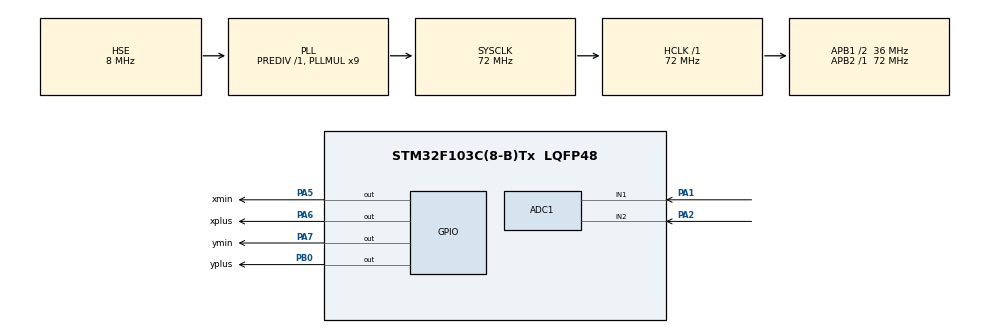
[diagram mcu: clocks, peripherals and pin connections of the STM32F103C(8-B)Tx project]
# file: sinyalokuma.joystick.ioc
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ADC1.Channel-0\#ChannelRegularConversion=ADC_CHANNEL_1
ADC1.Channel-1\#ChannelRegularConversion=ADC_CHANNEL_2
ADC1.ContinuousConvMode=ENABLE
ADC1.NbrOfConversion=2
ADC1.NbrOfConversionFlag=1
ADC1.Rank-0\#ChannelRegularConversion=1
ADC1.Rank-1\#ChannelRegularConversion=2
ADC1.SamplingTime-0\#ChannelRegularConversion=ADC_SAMPLETIME_239CYCLES_5
ADC1.SamplingTime-1\#ChannelRegularConversion=ADC_SAMPLETIME_239CYCLES_5
ADC1.master=1
Dma.ADC1.0.Direction=DMA_PERIPH_TO_MEMORY
Dma.ADC1.0.Instance=DMA1_Channel1
Dma.ADC1.0.MemDataAlignment=DMA_MDATAALIGN_WORD
Dma.ADC1.0.MemInc=DMA_MINC_ENABLE
Dma.ADC1.0.Mode=DMA_CIRCULAR
Dma.ADC1.0.PeriphDataAlignment=DMA_PDATAALIGN_WORD
Dma.ADC1.0.PeriphInc=DMA_PINC_DISABLE
Dma.ADC1.0.Priority=DMA_PRIORITY_LOW
Dma.Request0=ADC1
Mcu.Family=STM32F1
Mcu.Name=STM32F103C(8-B)Tx
Mcu.Package=LQFP48
NVIC.DMA1_Channel1_IRQn=true\:0\:0\:false\:false\:true\:false\:true\:true
NVIC.PriorityGroup=NVIC_PRIORITYGROUP_4
PA1.Signal=ADCx_IN1
PA13.Mode=Serial_Wire
PA13.Signal=SYS_JTMS-SWDIO
PA14.Mode=Serial_Wire
PA14.Signal=SYS_JTCK-SWCLK
PA2.Signal=ADCx_IN2
PA5.GPIO_Label=xmin
PA5.Signal=GPIO_Output
PA6.GPIO_Label=xplus
PA6.Signal=GPIO_Output
PA7.GPIO_Label=ymin
PA7.Signal=GPIO_Output
PB0.GPIO_Label=yplus
PB0.Signal=GPIO_Output
PD0-OSC_IN.Mode=HSE-External-Oscillator
PD0-OSC_IN.Signal=RCC_OSC_IN
PD1-OSC_OUT.Mode=HSE-External-Oscillator
PD1-OSC_OUT.Signal=RCC_OSC_OUT
ProjectManager.HeapSize=0x200
ProjectManager.StackSize=0x400
ProjectManager.TargetToolchain=SW4STM32
RCC.ADCPresc=RCC_ADCPCLK2_DIV6
RCC.AHBFreq_Value=72000000
RCC.APB1CLKDivider=RCC_HCLK_DIV2
RCC.APB1Freq_Value=36000000
RCC.APB1TimFreq_Value=72000000
RCC.APB2Freq_Value=72000000
RCC.APB2TimFreq_Value=72000000
RCC.HCLKFreq_Value=72000000
RCC.PLLMUL=RCC_PLL_MUL9
RCC.PLLSourceVirtual=RCC_PLLSOURCE_HSE
RCC.SYSCLKFreq_VALUE=72000000
RCC.SYSCLKSource=RCC_SYSCLKSOURCE_PLLCLK
RCC.USBFreq_Value=72000000
SH.ADCx_IN1.0=ADC1_IN1,IN1
SH.ADCx_IN2.0=ADC1_IN2,IN2
board=custom

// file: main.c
/* USER CODE BEGIN Header */
/**
  ******************************************************************************
  * @file           : main.c
  * @brief          : Main program body
  ******************************************************************************
  * @attention
  *
  * <h2><center>&copy; Copyright (c) 2019 STMicroelectronics.
  * All rights reserved.</center></h2>
  *
  * This software component is licensed by ST under BSD 3-Clause license,
  * the "License"; You may not use this file except in compliance with the
  * License. You may obtain a copy of the License at:
  *                        opensource.org/licenses/BSD-3-Clause
  *
  ******************************************************************************
  */
/* USER CODE END Header */

#include "main.h"

ADC_HandleTypeDef hadc1;
DMA_HandleTypeDef hdma_adc1;

void SystemClock_Config(void);
static void MX_GPIO_Init(void);
static void MX_DMA_Init(void);
static void MX_ADC1_Init(void);

/* USER CODE BEGIN 0 */
uint32_t VR[2];
/* USER CODE END 0 */

int main(void)
{

  /* MCU Configuration--------------------------------------------------------*/

  /* Reset of all peripherals, Initializes the Flash interface and the Systick. */
  HAL_Init();

  /* Configure the system clock */
  SystemClock_Config();

  /* Initialize all configured peripherals */
  MX_GPIO_Init();
  MX_DMA_Init();
  MX_ADC1_Init();
  /* USER CODE BEGIN 2 */

  HAL_ADC_Start_DMA(&hadc1, VR, 2);

  /* USER CODE END 2 */

  /* Infinite loop */
  while (1)
  {

    /* USER CODE BEGIN 3 */

	  if ((VR[0]>=2000)&&(VR[0]<=3000))
	  {
		  HAL_GPIO_WritePin(xmin_GPIO_Port, xmin_Pin, GPIO_PIN_RESET);
		  HAL_GPIO_WritePin(xplus_GPIO_Port, xplus_Pin, GPIO_PIN_RESET);
	  }

	  if ((VR[1]>=2000) && (VR[1]<=3000))
	  {
		  HAL_GPIO_WritePin(ymin_GPIO_Port, ymin_Pin, GPIO_PIN_RESET);
		  HAL_GPIO_WritePin(yplus_GPIO_Port, yplus_Pin, GPIO_PIN_RESET);
	  }

	  if ((VR[0]>=4000))
	  {
		  HAL_GPIO_WritePin(xmin_GPIO_Port, xmin_Pin, GPIO_PIN_RESET);
		  HAL_GPIO_WritePin(xplus_GPIO_Port, xplus_Pin, GPIO_PIN_SET);
	  }

	  if ((VR[0]<=800))
	  {
		  HAL_GPIO_WritePin(xmin_GPIO_Port, xmin_Pin, GPIO_PIN_SET);
		  HAL_GPIO_WritePin(xplus_GPIO_Port, xplus_Pin, GPIO_PIN_RESET);
	  }

	  if ((VR[1]>=4000))
	  {
		  HAL_GPIO_WritePin(ymin_GPIO_Port, ymin_Pin, GPIO_PIN_RESET);
		  HAL_GPIO_WritePin(yplus_GPIO_Port, yplus_Pin, GPIO_PIN_SET);
	  }

	  if ((VR[1]<=800))
	  {
		  HAL_GPIO_WritePin(ymin_GPIO_Port, ymin_Pin, GPIO_PIN_SET);
		  HAL_GPIO_WritePin(yplus_GPIO_Port, yplus_Pin, GPIO_PIN_RESET);
	  }
  }
  /* USER CODE END 3 */
}

void SystemClock_Config(void)
{
  RCC_OscInitTypeDef RCC_OscInitStruct = {0};
  RCC_ClkInitTypeDef RCC_ClkInitStruct = {0};
  RCC_PeriphCLKInitTypeDef PeriphClkInit = {0};

  /** Initializes the CPU, AHB and APB busses clocks
  */
  RCC_OscInitStruct.OscillatorType = RCC_OSCILLATORTYPE_HSE;
  RCC_OscInitStruct.HSEState = RCC_HSE_ON;
  RCC_OscInitStruct.HSEPredivValue = RCC_HSE_PREDIV_DIV1;
  RCC_OscInitStruct.HSIState = RCC_HSI_ON;
  RCC_OscInitStruct.PLL.PLLState = RCC_PLL_ON;
  RCC_OscInitStruct.PLL.PLLSource = RCC_PLLSOURCE_HSE;
  RCC_OscInitStruct.PLL.PLLMUL = RCC_PLL_MUL9;
  if (HAL_RCC_OscConfig(&RCC_OscInitStruct) != HAL_OK)
  {
    Error_Handler();
  }
  /** Initializes the CPU, AHB and APB busses clocks
  */
  RCC_ClkInitStruct.ClockType = RCC_CLOCKTYPE_HCLK|RCC_CLOCKTYPE_SYSCLK
                              |RCC_CLOCKTYPE_PCLK1|RCC_CLOCKTYPE_PCLK2;
  RCC_ClkInitStruct.SYSCLKSource = RCC_SYSCLKSOURCE_PLLCLK;
  RCC_ClkInitStruct.AHBCLKDivider = RCC_SYSCLK_DIV1;
  RCC_ClkInitStruct.APB1CLKDivider = RCC_HCLK_DIV2;
  RCC_ClkInitStruct.APB2CLKDivider = RCC_HCLK_DIV1;

  if (HAL_RCC_ClockConfig(&RCC_ClkInitStruct, FLASH_LATENCY_2) != HAL_OK)
  {
    Error_Handler();
  }
  PeriphClkInit.PeriphClockSelection = RCC_PERIPHCLK_ADC;
  PeriphClkInit.AdcClockSelection = RCC_ADCPCLK2_DIV6;
  if (HAL_RCCEx_PeriphCLKConfig(&PeriphClkInit) != HAL_OK)
  {
    Error_Handler();
  }
}

static void MX_ADC1_Init(void)
{

  ADC_ChannelConfTypeDef sConfig = {0};

  /** Common config
  */
  hadc1.Instance = ADC1;
  hadc1.Init.ScanConvMode = ADC_SCAN_ENABLE;
  hadc1.Init.ContinuousConvMode = ENABLE;
  hadc1.Init.DiscontinuousConvMode = DISABLE;
  hadc1.Init.ExternalTrigConv = ADC_SOFTWARE_START;
  hadc1.Init.DataAlign = ADC_DATAALIGN_RIGHT;
  hadc1.Init.NbrOfConversion = 2;
  if (HAL_ADC_Init(&hadc1) != HAL_OK)
  {
    Error_Handler();
  }
  /** Configure Regular Channel
  */
  sConfig.Channel = ADC_CHANNEL_1;
  sConfig.Rank = ADC_REGULAR_RANK_1;
  sConfig.SamplingTime = ADC_SAMPLETIME_239CYCLES_5;
  if (HAL_ADC_ConfigChannel(&hadc1, &sConfig) != HAL_OK)
  {
    Error_Handler();
  }
  /** Configure Regular Channel
  */
  sConfig.Channel = ADC_CHANNEL_2;
  sConfig.Rank = ADC_REGULAR_RANK_2;
  if (HAL_ADC_ConfigChannel(&hadc1, &sConfig) != HAL_OK)
  {
    Error_Handler();
  }

}

static void MX_DMA_Init(void)
{

  /* DMA controller clock enable */
  __HAL_RCC_DMA1_CLK_ENABLE();

  /* DMA interrupt init */
  /* DMA1_Channel1_IRQn interrupt configuration */
  HAL_NVIC_SetPriority(DMA1_Channel1_IRQn, 0, 0);
  HAL_NVIC_EnableIRQ(DMA1_Channel1_IRQn);

}

static void MX_GPIO_Init(void)
{
  GPIO_InitTypeDef GPIO_InitStruct = {0};

  /* GPIO Ports Clock Enable */
  __HAL_RCC_GPIOD_CLK_ENABLE();
  __HAL_RCC_GPIOA_CLK_ENABLE();
  __HAL_RCC_GPIOB_CLK_ENABLE();

  /*Configure GPIO pin Output Level */
  HAL_GPIO_WritePin(GPIOA, xmin_Pin|xplus_Pin|ymin_Pin, GPIO_PIN_RESET);

  /*Configure GPIO pin Output Level */
  HAL_GPIO_WritePin(yplus_GPIO_Port, yplus_Pin, GPIO_PIN_RESET);

  /*Configure GPIO pins : xmin_Pin xplus_Pin ymin_Pin */
  GPIO_InitStruct.Pin = xmin_Pin|xplus_Pin|ymin_Pin;
  GPIO_InitStruct.Mode = GPIO_MODE_OUTPUT_PP;
  GPIO_InitStruct.Pull = GPIO_NOPULL;
  GPIO_InitStruct.Speed = GPIO_SPEED_FREQ_LOW;
  HAL_GPIO_Init(GPIOA, &GPIO_InitStruct);

  /*Configure GPIO pin : yplus_Pin */
  GPIO_InitStruct.Pin = yplus_Pin;
  GPIO_InitStruct.Mode = GPIO_MODE_OUTPUT_PP;
  GPIO_InitStruct.Pull = GPIO_NOPULL;
  GPIO_InitStruct.Speed = GPIO_SPEED_FREQ_LOW;
  HAL_GPIO_Init(yplus_GPIO_Port, &GPIO_InitStruct);

}

void Error_Handler(void)
{
}

/************************ (C) COPYRIGHT STMicroelectronics *****END OF FILE****/
